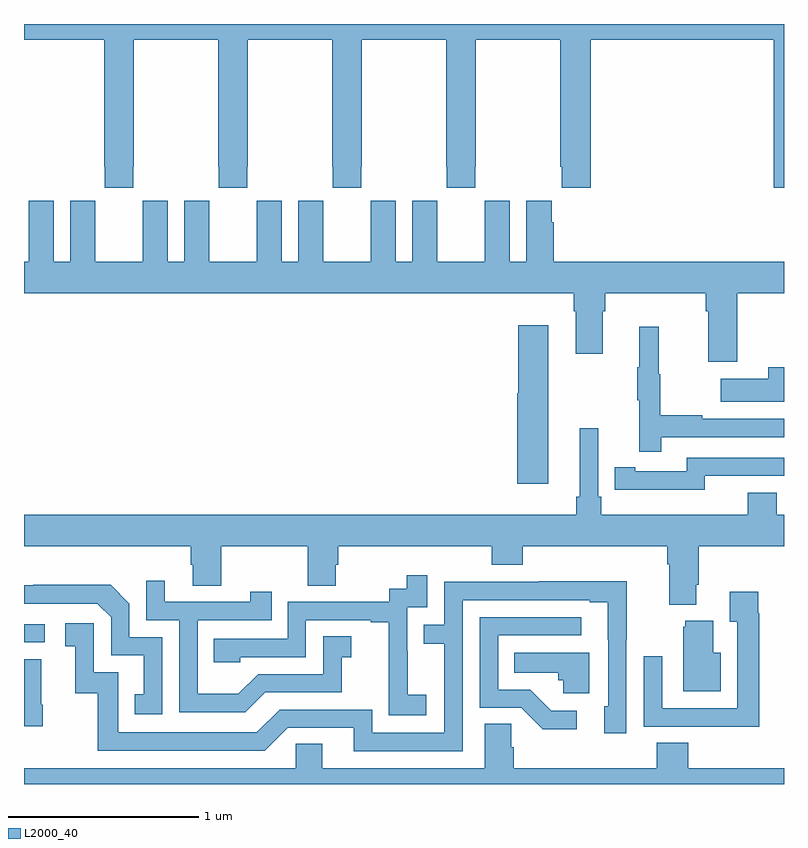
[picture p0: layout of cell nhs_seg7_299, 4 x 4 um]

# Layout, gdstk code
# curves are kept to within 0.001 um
import gdstk
lib = gdstk.Library(unit=1e-6, precision=1e-09)
def R(c, l, rs):  # rectangles x0, y0, x1, y1
    for r in rs: c.add(gdstk.rectangle(r[:2], r[2:], *l))
def P(c, l, *ps):  # polygons
    for p in ps: c.add(gdstk.Polygon(p, *l))
L2000_40 = (2000, 40)

nhs_seg7_299 = lib.new_cell('nhs_seg7_299')
R(nhs_seg7_299, L2000_40, [(133,1030.746,133.108,1030.842)])
P(nhs_seg7_299, L2000_40, [(133.575,1033.249),(133.578,1033.249),(133.578,1033.916),(134.023,1033.916),(134.023,1033.249),(134.025,1033.249),(134.025,1033.137),(134.175,1033.137),(134.175,1033.249),(134.178,1033.249),(134.178,1033.916),(134.623,1033.916),(134.623,1033.249),(134.625,1033.249),(134.625,1033.137),(134.775,1033.137),(134.775,1033.249),(134.778,1033.249),(134.778,1033.916),(135.223,1033.916),(135.223,1033.249),(135.225,1033.249),(135.225,1033.137),(135.375,1033.137),(135.375,1033.249),(135.378,1033.249),(135.378,1033.916),(135.823,1033.916),(135.823,1033.249),(135.829,1033.249),(135.829,1033.137),(135.983,1033.137),(135.983,1033.916),(136.946,1033.916),(136.946,1033.137),(137,1033.137),(137,1034),(133,1034),(133,1033.916),(133.423,1033.916),(133.423,1033.249),(133.425,1033.249),(133.425,1033.137),(133.575,1033.137)],
  [(135.893,1032.488),(135.905,1032.488),(135.905,1032.264),(136.045,1032.264),(136.045,1032.488),(136.058,1032.488),(136.058,1032.584),(136.589,1032.584),(136.589,1032.488),(136.601,1032.488),(136.601,1032.222),(136.754,1032.222),(136.754,1032.584),(137,1032.584),(137,1032.748),(135.788,1032.748),(135.788,1032.956),(135.778,1032.956),(135.778,1033.069),(135.644,1033.069),(135.644,1032.748),(135.556,1032.748),(135.556,1033.069),(135.426,1033.069),(135.426,1032.956),(135.425,1032.956),(135.425,1032.748),(135.175,1032.748),(135.175,1032.956),(135.174,1032.956),(135.174,1033.069),(135.044,1033.069),(135.044,1032.748),(134.956,1032.748),(134.956,1033.069),(134.826,1033.069),(134.826,1032.956),(134.825,1032.956),(134.825,1032.748),(134.575,1032.748),(134.575,1032.956),(134.574,1032.956),(134.574,1033.069),(134.444,1033.069),(134.444,1032.748),(134.356,1032.748),(134.356,1033.069),(134.226,1033.069),(134.226,1032.956),(134.225,1032.956),(134.225,1032.748),(133.975,1032.748),(133.975,1032.956),(133.974,1032.956),(133.974,1033.069),(133.844,1033.069),(133.844,1032.748),(133.756,1032.748),(133.756,1033.069),(133.626,1033.069),(133.626,1032.956),(133.625,1032.956),(133.625,1032.748),(133.375,1032.748),(133.375,1032.956),(133.374,1032.956),(133.374,1033.069),(133.244,1033.069),(133.244,1032.748),(133.156,1032.748),(133.156,1033.069),(133.026,1033.069),(133.026,1032.956),(133.025,1032.956),(133.025,1032.748),(133,1032.748),(133,1032.584),(135.893,1032.584)],
  [(135.76,1032.415),(135.602,1032.415),(135.602,1032.057),(135.596,1032.057),(135.596,1031.58),(135.76,1031.58)],
  [(136.355,1031.826),(137,1031.826),(137,1031.922),(136.571,1031.922),(136.571,1031.942),(136.348,1031.942),(136.348,1032.156),(136.34,1032.156),(136.34,1032.406),(136.238,1032.406),(136.238,1032.193),(136.227,1032.193),(136.227,1032.019),(136.238,1032.019),(136.238,1031.748),(136.355,1031.748)],
  [(137,1032.193),(136.916,1032.193),(136.916,1032.133),(136.667,1032.133),(136.667,1032.011),(137,1032.011)],
  [(136.537,1031.05),(136.55,1031.05),(136.55,1031.252),(137,1031.252),(137,1031.416),(136.961,1031.416),(136.961,1031.533),(136.808,1031.533),(136.808,1031.416),(136.037,1031.416),(136.037,1031.512),(136.023,1031.512),(136.023,1031.872),(135.926,1031.872),(135.926,1031.512),(135.907,1031.512),(135.907,1031.416),(133,1031.416),(133,1031.252),(133.877,1031.252),(133.877,1031.154),(133.889,1031.154),(133.889,1031.044),(134.037,1031.044),(134.037,1031.252),(134.494,1031.252),(134.494,1031.044),(134.641,1031.044),(134.641,1031.154),(134.654,1031.154),(134.654,1031.252),(135.461,1031.252),(135.461,1031.153),(135.626,1031.153),(135.626,1031.252),(136.385,1031.252),(136.385,1031.156),(136.397,1031.156),(136.397,1030.943),(136.537,1030.943)],
  [(136.584,1031.622),(137,1031.622),(137,1031.718),(136.488,1031.718),(136.488,1031.646),(136.216,1031.646),(136.216,1031.666),(136.108,1031.666),(136.108,1031.55),(136.216,1031.55),(136.216,1031.549),(136.584,1031.549)],
  [(135.118,1030.471),(135.02,1030.471),(135.02,1030.7),(135.018,1030.7),(135.018,1030.929),(135.123,1030.929),(135.123,1031.098),(135.015,1031.098),(135.015,1031.028),(134.922,1031.028),(134.922,1030.959),(134.388,1030.959),(134.388,1030.764),(133.999,1030.764),(133.999,1030.641),(134.139,1030.641),(134.139,1030.668),(134.484,1030.668),(134.484,1030.863),(134.825,1030.863),(134.825,1030.851),(134.921,1030.851),(134.921,1030.567),(134.92,1030.567),(134.92,1030.361),(135.118,1030.361)],
  [(134.269,1030.482),(134.673,1030.482),(134.673,1030.667),(134.722,1030.667),(134.722,1030.777),(134.574,1030.777),(134.574,1030.578),(134.232,1030.578),(134.128,1030.474),(133.914,1030.474),(133.914,1030.863),(134.303,1030.863),(134.303,1031.011),(134.192,1031.011),(134.192,1030.959),(133.741,1030.959),(133.741,1031.071),(133.644,1031.071),(133.644,1030.863),(133.818,1030.863),(133.818,1030.377),(134.164,1030.377)],
  [(135.309,1030.968),(135.977,1030.968),(135.977,1030.956),(136.073,1030.956),(136.074,1030.41),(136.055,1030.41),(136.055,1030.266),(136.17,1030.266),(136.17,1030.759),(136.173,1030.759),(136.173,1031.066),(135.709,1031.066),(135.709,1031.064),(135.213,1031.064),(135.213,1030.839),(135.103,1030.839),(135.103,1030.738),(135.213,1030.738),(135.213,1030.269),(134.832,1030.269),(134.832,1030.392),(134.346,1030.392),(134.226,1030.272),(133.497,1030.272),(133.497,1030.587),(133.368,1030.587),(133.368,1030.846),(133.218,1030.846),(133.218,1030.725),(133.271,1030.725),(133.271,1030.478),(133.389,1030.478),(133.389,1030.176),(134.268,1030.176),(134.388,1030.296),(134.735,1030.296),(134.735,1030.173),(135.309,1030.173)],
  [(133.728,1030.773),(133.554,1030.773),(133.554,1030.95),(133.456,1031.048),(133.048,1031.048),(133.048,1031.046),(133,1031.046),(133,1030.95),(133.386,1030.95),(133.458,1030.878),(133.458,1030.677),(133.631,1030.677),(133.631,1030.473),(133.582,1030.473),(133.582,1030.368),(133.728,1030.368)],
  [(136.871,1030.898),(136.864,1030.898),(136.864,1031.011),(136.715,1031.011),(136.715,1030.855),(136.755,1030.855),(136.755,1030.398),(136.359,1030.398),(136.359,1030.672),(136.263,1030.672),(136.263,1030.302),(136.579,1030.302),(136.579,1030.301),(136.871,1030.301)],
  [(135.91,1030.386),(135.775,1030.386),(135.664,1030.497),(135.495,1030.497),(135.495,1030.782),(135.934,1030.782),(135.934,1030.878),(135.399,1030.878),(135.399,1030.401),(135.618,1030.401),(135.731,1030.289),(135.91,1030.289)],
  [(136.666,1030.69),(136.627,1030.69),(136.627,1030.858),(136.481,1030.858),(136.481,1030.827),(136.469,1030.827),(136.469,1030.487),(136.666,1030.487)],
  [(135.976,1030.69),(135.58,1030.69),(135.58,1030.586),(135.811,1030.586),(135.811,1030.545),(135.837,1030.545),(135.837,1030.478),(135.976,1030.478)],
  [(133.098,1030.417),(133.09,1030.417),(133.09,1030.657),(133,1030.657),(133,1030.305),(133.098,1030.305)],
  [(137,1030.084),(136.496,1030.084),(136.496,1030.217),(136.331,1030.217),(136.331,1030.084),(135.578,1030.084),(135.578,1030.193),(135.564,1030.193),(135.564,1030.316),(135.425,1030.316),(135.425,1030.084),(134.569,1030.084),(134.569,1030.211),(134.43,1030.211),(134.43,1030.084),(133,1030.084),(133,1030),(137,1030)])

lib.write_gds('nhs_seg7_299.gds')
